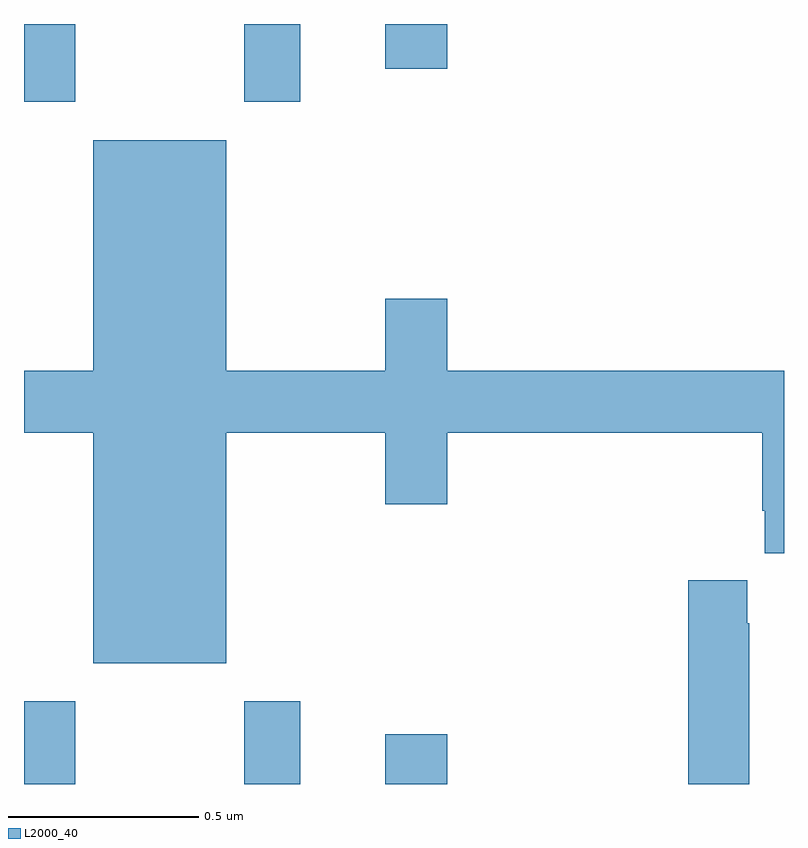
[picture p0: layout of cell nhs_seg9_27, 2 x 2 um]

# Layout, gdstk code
import gdstk
lib = gdstk.Library(unit=1e-6, precision=1e-09)
def R(c, l, rs):  # rectangles x0, y0, x1, y1
    for r in rs: c.add(gdstk.rectangle(r[:2], r[2:], *l))
def P(c, l, *ps):  # polygons
    for p in ps: c.add(gdstk.Polygon(p, *l))
L2000_40 = (2000, 40)

nhs_seg9_27 = lib.new_cell('nhs_seg9_27')
R(nhs_seg9_27, L2000_40, [(111,1191.5,111.135,1191.718), (111.58,1191.5,111.727,1191.718), (111.95,1191.5,112.114,1191.631), (111,1193.295,111.135,1193.5), (111.58,1193.295,111.727,1193.5), (111.95,1193.382,112.114,1193.5)])
P(nhs_seg9_27, L2000_40, [(111.532,1192.424),(111.95,1192.424),(111.95,1192.236),(112.114,1192.236),(112.114,1192.424),(112.943,1192.424),(112.943,1192.219),(112.949,1192.219),(112.949,1192.107),(113,1192.107),(113,1192.588),(112.114,1192.588),(112.114,1192.777),(111.95,1192.777),(111.95,1192.588),(111.532,1192.588),(111.532,1193.194),(111.182,1193.194),(111.182,1192.588),(111,1192.588),(111,1192.424),(111.182,1192.424),(111.182,1191.818),(111.532,1191.818)],
  [(112.908,1191.923),(112.903,1191.923),(112.903,1192.036),(112.748,1192.036),(112.748,1191.5),(112.908,1191.5)])

lib.write_gds('nhs_seg9_27.gds')
